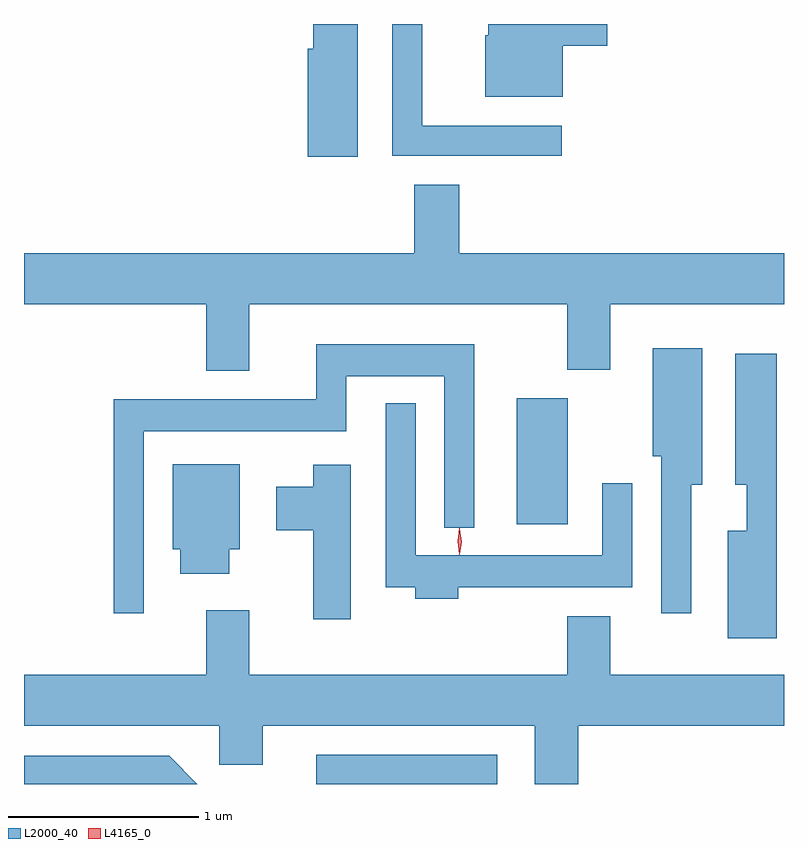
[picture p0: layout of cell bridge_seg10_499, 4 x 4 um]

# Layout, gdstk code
import gdstk
lib = gdstk.Library(unit=1e-6, precision=1e-09)
def R(c, l, rs):  # rectangles x0, y0, x1, y1
    for r in rs: c.add(gdstk.rectangle(r[:2], r[2:], *l))
def P(c, l, *ps):  # polygons
    for p in ps: c.add(gdstk.Polygon(p, *l))
L2000_40 = (2000, 40)
L4165_0 = (4165, 0)

bridge_seg10_499 = lib.new_cell('bridge_seg10_499')
R(bridge_seg10_499, L2000_40, [(896.481,2164.67,897.434,2164.824), (897.536,2166.036,897.804,2166.699)])
P(bridge_seg10_499, L2000_40, [(896.699,2168.67),(896.466,2168.67),(896.466,2168.539),(896.436,2168.539),(896.436,2167.971),(896.699,2167.971)],
  [(897.773,2168.134),(897.039,2168.134),(897.039,2168.67),(896.881,2168.67),(896.881,2167.976),(897.773,2167.976)],
  [(897.779,2168.556),(898.014,2168.556),(898.014,2168.67),(897.386,2168.67),(897.386,2168.61),(897.371,2168.61),(897.371,2168.286),(897.779,2168.286)],
  [(896.129,2167.196),(897.801,2167.196),(897.801,2166.851),(898.029,2166.851),(898.029,2167.196),(898.943,2167.196),(898.943,2167.464),(897.234,2167.464),(897.234,2167.824),(896.996,2167.824),(896.996,2167.464),(894.943,2167.464),(894.943,2167.196),(895.901,2167.196),(895.901,2166.846),(896.129,2166.846)],
  [(895.574,2166.526),(896.639,2166.526),(896.639,2166.816),(897.156,2166.816),(897.156,2166.018),(897.314,2166.018),(897.314,2166.984),(896.481,2166.984),(896.481,2166.694),(895.416,2166.694),(895.416,2165.568),(895.574,2165.568)],
  [(898.454,2166.246),(898.514,2166.246),(898.514,2166.964),(898.251,2166.964),(898.251,2166.396),(898.296,2166.396),(898.296,2165.568),(898.454,2165.568)],
  [(898.904,2166.934),(898.686,2166.934),(898.686,2166.246),(898.746,2166.246),(898.746,2166.004),(898.646,2166.004),(898.646,2165.436),(898.904,2165.436)],
  [(897.229,2165.706),(898.144,2165.706),(898.144,2166.253),(897.986,2166.253),(897.986,2165.874),(897.004,2165.874),(897.004,2166.673),(896.846,2166.673),(896.846,2165.706),(897.001,2165.706),(897.001,2165.646),(897.229,2165.646)],
  [(896.024,2165.906),(896.079,2165.906),(896.079,2166.354),(895.726,2166.354),(895.726,2165.906),(895.766,2165.906),(895.766,2165.776),(896.024,2165.776)],
  [(896.664,2166.349),(896.466,2166.349),(896.466,2166.234),(896.271,2166.234),(896.271,2166.006),(896.466,2166.006),(896.466,2165.536),(896.664,2165.536)],
  [(897.801,2165.554),(897.801,2165.244),(896.129,2165.244),(896.129,2165.584),(895.901,2165.584),(895.901,2165.244),(894.943,2165.244),(894.943,2164.976),(895.971,2164.976),(895.971,2164.771),(896.199,2164.771),(896.199,2164.976),(897.631,2164.976),(897.631,2164.67),(897.859,2164.67),(897.859,2164.976),(898.943,2164.976),(898.943,2165.244),(898.029,2165.244),(898.029,2165.554)],
  [(895.707,2164.819),(894.943,2164.819),(894.943,2164.67),(895.856,2164.67)])
P(bridge_seg10_499, L4165_0, [(897.235,2165.877),(897.235,2165.878),(897.225,2165.947),(897.235,2166.016),(897.235,2166.016),(897.236,2166.016),(897.245,2165.947),(897.236,2165.878)],
  [(897.236,2165.879),(897.236,2165.88),(897.226,2165.946),(897.236,2166.012),(897.236,2166.013),(897.237,2166.012),(897.246,2165.946),(897.237,2165.88)])

lib.write_gds('bridge_seg10_499.gds')
